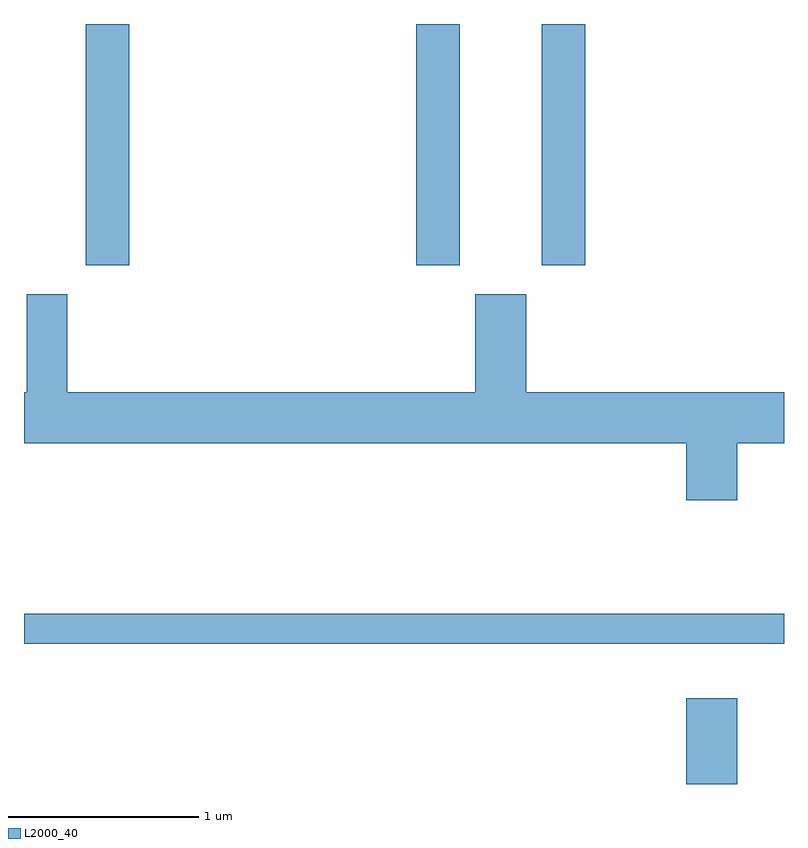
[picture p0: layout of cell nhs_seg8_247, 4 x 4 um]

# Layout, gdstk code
import gdstk
lib = gdstk.Library(unit=1e-6, precision=1e-09)
def R(c, l, rs):  # rectangles x0, y0, x1, y1
    for r in rs: c.add(gdstk.rectangle(r[:2], r[2:], *l))
def P(c, l, *ps):  # polygons
    for p in ps: c.add(gdstk.Polygon(p, *l))
L2000_40 = (2000, 40)

nhs_seg8_247 = lib.new_cell('nhs_seg8_247')
R(nhs_seg8_247, L2000_40, [(195.096,1892.342,195.364,1892.794), (191.611,1893.081,195.611,1893.239), (191.936,1895.071,192.164,1896.342), (193.676,1895.071,193.904,1896.342), (194.336,1895.071,194.564,1896.342)])
P(nhs_seg8_247, L2000_40, [(195.364,1894.136),(195.611,1894.136),(195.611,1894.404),(194.254,1894.404),(194.254,1894.919),(193.986,1894.919),(193.986,1894.404),(191.839,1894.404),(191.839,1894.919),(191.626,1894.919),(191.626,1894.404),(191.611,1894.404),(191.611,1894.136),(195.096,1894.136),(195.096,1893.836),(195.364,1893.836)])

lib.write_gds('nhs_seg8_247.gds')
